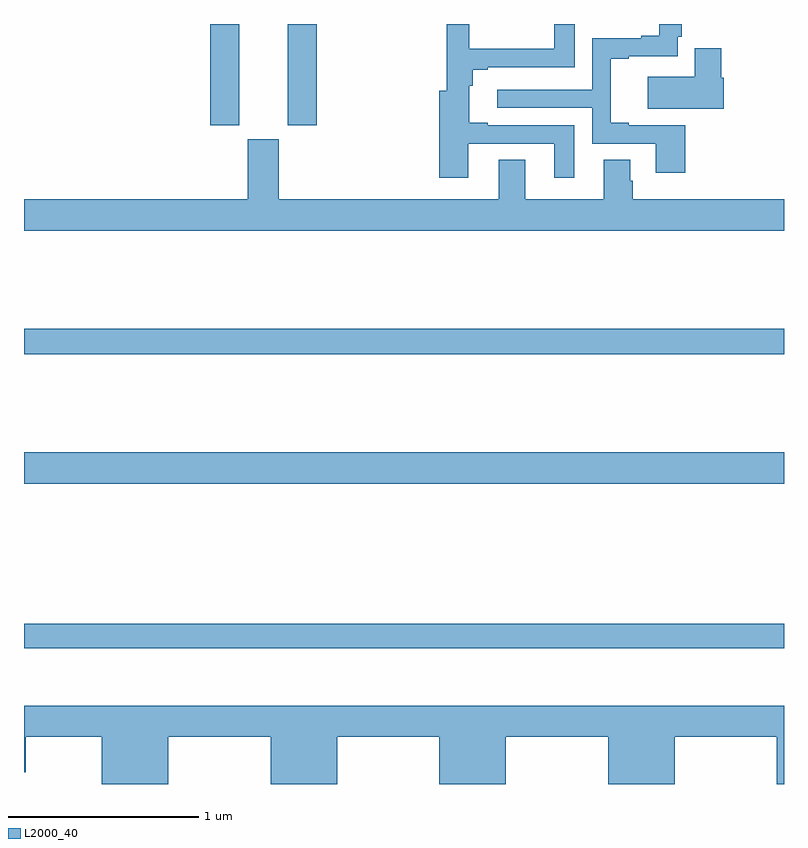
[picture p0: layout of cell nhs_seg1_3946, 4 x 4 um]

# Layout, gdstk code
import gdstk
lib = gdstk.Library(unit=1e-6, precision=1e-09)
def R(c, l, rs):  # rectangles x0, y0, x1, y1
    for r in rs: c.add(gdstk.rectangle(r[:2], r[2:], *l))
def P(c, l, *ps):  # polygons
    for p in ps: c.add(gdstk.Polygon(p, *l))
L2000_40 = (2000, 40)

nhs_seg1_3946 = lib.new_cell('nhs_seg1_3946')
R(nhs_seg1_3946, L2000_40, [(327,502.914,331,503.042), (327,503.78,331,503.944), (327,504.46,331,504.596), (327.98,505.665,328.132,506.199), (328.388,505.665,328.541,506.199)])
P(nhs_seg1_3946, L2000_40, [(329.338,505.569),(329.792,505.569),(329.792,505.389),(329.896,505.389),(329.896,505.665),(329.44,505.665),(329.44,505.678),(329.344,505.678),(329.344,505.874),(329.362,505.874),(329.362,505.959),(329.44,505.959),(329.44,505.971),(329.899,505.971),(329.899,506.199),(329.792,506.199),(329.792,506.068),(329.344,506.068),(329.344,506.199),(329.226,506.199),(329.226,505.849),(329.186,505.849),(329.186,505.389),(329.338,505.389)],
  [(330.479,505.665),(330.184,505.665),(330.184,505.678),(330.089,505.678),(330.089,506.016),(330.184,506.016),(330.184,506.028),(330.441,506.028),(330.441,506.131),(330.461,506.131),(330.461,506.199),(330.344,506.199),(330.344,506.137),(330.248,506.137),(330.248,506.124),(329.991,506.124),(329.991,505.854),(329.49,505.854),(329.49,505.758),(329.991,505.758),(329.991,505.569),(330.326,505.569),(330.326,505.416),(330.479,505.416)],
  [(330.683,505.917),(330.671,505.917),(330.671,506.071),(330.53,506.071),(330.53,505.921),(330.282,505.921),(330.282,505.754),(330.683,505.754)],
  [(331,505.276),(330.203,505.276),(330.203,505.374),(330.19,505.374),(330.19,505.484),(330.05,505.484),(330.05,505.276),(329.638,505.276),(329.638,505.484),(329.498,505.484),(329.498,505.276),(328.342,505.276),(328.342,505.593),(328.178,505.593),(328.178,505.276),(327,505.276),(327,505.112),(331,505.112)],
  [(327.76,502.448),(328.298,502.448),(328.298,502.199),(328.648,502.199),(328.648,502.448),(329.186,502.448),(329.186,502.199),(329.536,502.199),(329.536,502.448),(330.074,502.448),(330.074,502.199),(330.424,502.199),(330.424,502.448),(330.962,502.448),(330.962,502.199),(331,502.199),(331,502.612),(327,502.612),(327,502.26),(327.01,502.26),(327.01,502.448),(327.41,502.448),(327.41,502.199),(327.76,502.199)])

lib.write_gds('nhs_seg1_3946.gds')
